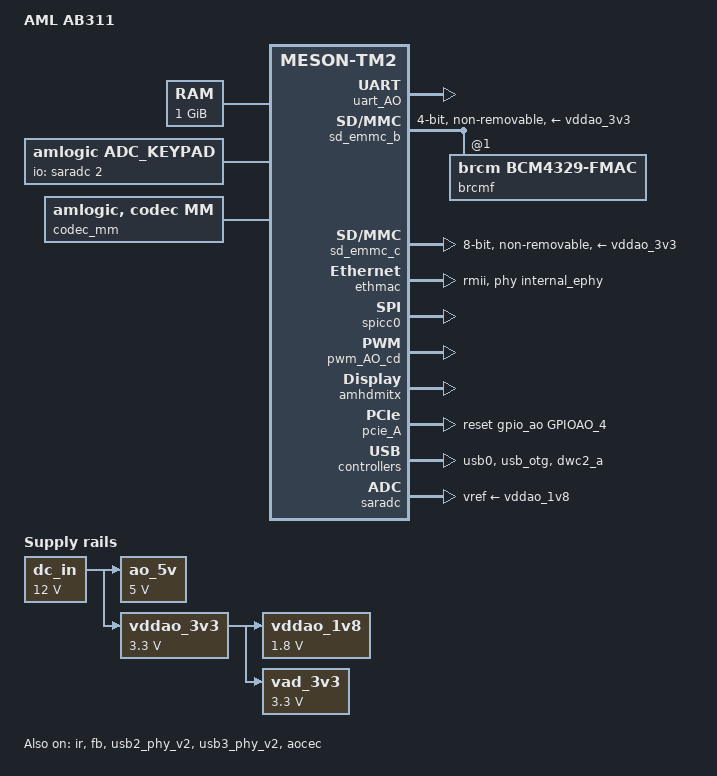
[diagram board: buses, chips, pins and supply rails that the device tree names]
// SPDX-License-Identifier: (GPL-2.0+ OR MIT)
/*
 * Copyright (c) 2019 Amlogic, Inc. All rights reserved.
 */

/dts-v1/;

#include "meson-tm2.dtsi"
#include "partition_mbox.dtsi"

/ {
	compatible = "amlogic,tm2";
	model = "AML AB311";

	aliases {
		serial0 = &uart_AO;
		serial1 = &uart_A;
		serial2 = &uart_B;
		serial3 = &uart_C;
		serial4 = &uart_AO_B;
		ethernet0 = &ethmac;
		i2c0 = &i2c0;
		i2c1 = &i2c1;
		i2c2 = &i2c2;
		i2c3 = &i2c3;
		i2c4 = &i2c_AO;
		spi1 = &spicc0;
		spi2 = &spicc1;
		tsensor0 = &p_tsensor;
		tsensor1 = &d_tsensor;
	};

	chosen {
		stdout-path = "serial0:115200n8";
	};

	memory@0 {
		device_type = "memory";
		reg = <0x0 0x0 0x0 0x40000000>;
	};

	adc_keypad {
		compatible = "amlogic, adc_keypad";
		status = "okay";
		key_name = "vol-", "vol+", "enter";
		key_num = <3>;
		io-channels = <&saradc 2>;
		io-channel-names = "key-chan-2";
		key_chan = <2 2 2>;
		key_code = <114 115 28>;
		key_val = <143 266 389>; //val=voltage/1800mV*1023
		key_tolerance = <40 40 40>;
	};

	ao_5v: regulator-ao_5v {
		compatible = "regulator-fixed";
		regulator-name = "AO_5V";
		regulator-min-microvolt = <5000000>;
		regulator-max-microvolt = <5000000>;
		vin-supply = <&dc_in>;
		regulator-always-on;
	};

	dc_in: regulator-dc_in {
		compatible = "regulator-fixed";
		regulator-name = "DC_IN";
		regulator-min-microvolt = <12000000>;
		regulator-max-microvolt = <12000000>;
		regulator-always-on;
	};

	reserved-memory {
		secmon_reserved:linux,secmon {
			compatible = "shared-dma-pool";
			reusable;
			size = <0x0 0x400000>;
			alignment = <0x0 0x400000>;
			alloc-ranges = <0x0 0x05000000 0x0 0x400000>;
		};

		ion_cma_reserved:linux,ion-dev {
			compatible = "shared-dma-pool";
			reusable;
			size = <0x8000000>;
			alignment = <0x400000>;
			alloc-ranges = <0x0 0x30000000 0x0 0x50000000>;
		};

		dsp_fw_reserved:linux,dsp_fw {
			compatible = "shared-dma-pool";
			reusable;
			size = <0x0 0x1000000>;
			alignment = <0x0 0x400000>;
			alloc-ranges = <0x0 0x30000000 0x0 0x1000000>;
		};

		/*  POST PROCESS MANAGER */
		ppmgr_reserved:linux,ppmgr {
			compatible = "shared-dma-pool";
			size = <0x0>;
		};

		logo_reserved:linux,meson-fb {
			compatible = "shared-dma-pool";
			reusable;
			size = <0x0 0x800000>;
			alignment = <0x0 0x400000>;
			alloc-ranges = <0x0 0x3f800000 0x0 0x800000>;
		};

		ion_cma_reserved:linux,ion-dev {
			compatible = "shared-dma-pool";
			reusable;
			size = <0x0 0x8000000>;
			alignment = <0x0 0x400000>;
		};

		codec_mm_cma:linux,codec_mm_cma {
			compatible = "shared-dma-pool";
			reusable;
			/* ion_codec_mm max can alloc size 80M*/
			size = <0x0 0x13400000>;
			alignment = <0x0 0x400000>;
			linux,contiguous-region;
		};

		/* codec shared reserved */
		codec_mm_reserved:linux,codec_mm_reserved {
			compatible = "amlogic, codec-mm-reserved";
			size = <0x0 0x0>;
			alignment = <0x0 0x100000>;
		};

		/*di CMA pool */
		di_cma_reserved:linux,di_cma {
			compatible = "shared-dma-pool";
			reusable;
			size = <0x0 0x02800000>;
			alignment = <0x0 0x400000>;
		};

		/*  vdin0 CMA pool */
		//vdin0_cma_reserved:linux,vdin0_cma {
		//	compatible = "shared-dma-pool";
		//	reusable;
			/* 3840x2160x4x4 ~=128 M */
		//	size = <0x0 0xc400000>;
		//	alignment = <0x0 0x400000>;
		//};

		/*  vdin1 CMA pool */
		vdin1_cma_reserved:linux,vdin1_cma {
			compatible = "shared-dma-pool";
			reusable;
			/* 1920x1080x2x5  =20 M */
			size = <0x0 0x1400000>;
			alignment = <0x0 0x400000>;
		};
	};

	codec_mm {
		compatible = "amlogic, codec, mm";
		memory-region = <&codec_mm_cma &codec_mm_reserved>;
		dev_name = "codec_mm";
		status = "okay";
	};

	ppmgr {
		compatible = "amlogic, ppmgr";
		memory-region = <&ppmgr_reserved>;
		dev_name = "ppmgr";
		status = "okay";
	};

	amlvecm {
		compatible = "amlogic, vecm-tm2-verb";
		dev_name = "aml_vecm";
		status = "okay";
		gamma_en = <0>;/*1:enabel ;0:disable*/
		wb_en = <0>;/*1:enabel ;0:disable*/
		cm_en = <0>;/*1:enabel ;0:disable*/
		wb_sel = <0>;/*1:mtx ;0:gainoff*/
		vlock_en = <0>;/*1:enable;0:disable*/
		vlock_mode = <0x8>;
		/* vlock work mode:
		 *bit0:auto ENC
		 *bit1:auto PLL
		 *bit2:manual PLL
		 *bit3:manual ENC
		 *bit4:manual soft ENC
		 *bit5:manual MIX PLL ENC
		 */
		 vlock_pll_m_limit = <1>;
		 vlock_line_limit = <2>;
	};

	amdolby_vision {
		compatible = "amlogic, dolby_vision_tm2";
		dev_name = "aml_amdolby_vision_driver";
		status = "okay";
		tv_mode = <0>;/*1:enabel ;0:disable*/
	};

	vdin@0 {
		compatible = "amlogic, vdin-tm2verb";
		/*memory-region = <&vdin0_cma_reserved>;*/
		status = "okay";
		/*bit0:(1:share with codec_mm;0:cma alone)
		 *bit8:(1:alloc in discontinus way;0:alone in continuous way)
		 */
		flag_cma = <0x101>;
		/*MByte, if 10bit disable: 64M(YUV422),
		 *if 10bit enable: 64*1.5 = 96M(YUV422)
		 *if support 4K2K-YUV444-10bit-WR:3840*2160*4*6 ~= 200M
		 *if support 4K2K-YUV422-10bit-wr:3840*2160*3*6 ~= 160M
		 *if support 4K2K-YUV422-8BIT-WR:3840*2160*2*4 ~= 64M
		 *if support 1080p-YUV422-8BIT-WR:1920*1080*2*4 ~= 16M
		 *worst case:(4096*2160*3 + 2M(afbce issue)) *10buf = 273.5M
		 *for double write 4k, need extra 25M for 960x540(1/4 down)
		 */
		cma_size = <300>;
		/* max buffer number */
		frame_buff_num = <10>;
		interrupts = <0 83 1 /* vdin0 vsync */
			      0 72 1>;/* vpu crash */
		rdma-irq = <2>;
		clocks = <&clkc CLKID_FCLK_DIV5>,
			<&clkc CLKID_VDIN_MEAS>;
		clock-names = "fclk_div5", "cts_vdin_meas_clk";
		vdin_id = <0>;
		/*vdin write mem color depth support:
		 * bit0:support 8bit
		 * bit1:support 9bit
		 * bit2:support 10bit
		 * bit3:support 12bit
		 * bit4:support yuv422 10bit full pack mode (from txl new add)
		 * bit8:use 8bit  at 4k_50/60hz_10bit
		 * bit9:use 10bit at 4k_50/60hz_10bit
		 * bit10: support 10bit when double write
		 */
		tv_bit_mode = <0x215>;
		/* afbce_bit_mode: (amlogic frame buff compression encoder)
		 * bit0 -- enable afbce
		 * bit1 -- enable afbce compression-lossy
		 * bit4 -- afbce for 4k
		 * bit5 -- afbce for 1080p
		 * bit6 -- afbce for 720p
		 * bit7 -- afbce for smaller resolution
		 */
		afbce_bit_mode = <0x11>;
		/* urgent_en; */
		double_write_en;
	};

	vdin@1 {
		compatible = "amlogic, vdin-tm2verb";
		memory-region = <&vdin1_cma_reserved>;
		status = "okay";
		/*bit0:(1:share with codec_mm;0:cma alone)
		 *bit8:(1:alloc in discontinus way;0:alone in continuous way)
		 */
		flag_cma = <0>;
		interrupts = <0 85 1>;
		rdma-irq = <4>;
		clocks = <&clkc CLKID_FCLK_DIV5>,
			<&clkc CLKID_VDIN_MEAS>;
		clock-names = "fclk_div5", "cts_vdin_meas_clk";
		vdin_id = <1>;
		/*vdin write mem color depth support:
		 *bit0:support 8bit
		 *bit1:support 9bit
		 *bit2:support 10bit
		 *bit3:support 12bit
		 */
		tv_bit_mode = <0x15>;
		/*urgent_en*/
	};

	vddao_1v8: regulator-vddao_1v8 {
		compatible = "regulator-fixed";
		regulator-name = "VDDAO_1V8";
		regulator-min-microvolt = <1800000>;
		regulator-max-microvolt = <1800000>;
		vin-supply = <&vddao_3v3>;
		regulator-always-on;
	};

	vddao_3v3: regulator-vddao_3v3 {
		compatible = "regulator-fixed";
		regulator-name = "VDDAO_3V3";
		regulator-min-microvolt = <3300000>;
		regulator-max-microvolt = <3300000>;
		vin-supply = <&dc_in>;
		regulator-always-on;
	};

	vad_3v3: regulator-vad_3v3 {
		compatible = "regulator-fixed";
		regulator-name = "VAD_3V3";
		regulator-min-microvolt = <3300000>;
		regulator-max-microvolt = <3300000>;
		vin-supply = <&vddao_3v3>;
		regulator-always-on;
	};

	deinterlace {
		compatible = "amlogic, deinterlace";
		status = "okay";
		/* 0:use reserved; 1:use cma; 2:use cma as reserved */
		flag_cma = <1>;
		//memory-region = <&di_reserved>;
		memory-region = <&di_cma_reserved>;
		interrupts = <0 46 1
				0 40 1>;
		interrupt-names = "pre_irq", "post_irq";
		clocks = <&clkc CLKID_VPU_CLKB_TMP
			&clkc CLKID_VPU_CLKB
			&clkc CLKID_VPU>;
		clock-names = "vpu_clkb_tmp",
			"vpu_clkb",
			"vpu_mux";
		clock-range = <334 667>;
		/* buffer-size = <3621952>;(yuv422 8bit) */
		buffer-size = <4074560>;/*yuv422 fullpack*/
		/* reserve-iomap = "true"; */
		/* if enable nr10bit, set nr10bit-support to 1 */
		post-wr-support = <1>;
		nr10bit-support = <1>;
		nrds-enable = <1>;
		pps-enable = <1>;
	};

       aocec: aocec {
		compatible = "amlogic, aocec-tm2";
		/*device_name = "aocec";*/
		status = "okay";
		vendor_name = "Amlogic"; /* Max Chars: 8         */
		/* Refer to the following URL at:
		 * http://standards.ieee.org/develop/regauth/oui/oui.txt
		 */
		vendor_id = <0xffffff>;
		product_desc = "TM2"; /* Max Chars: 16    */
		cec_osd_string = "AML_TV"; /* Max Chars: 14    */
		port_num = <4>;
		ee_cec;
		/*cec_sel = <2>;*/
		output = <1>;   /*output port number*/
		arc_port_mask = <0x2>;
		interrupts = <0 203 1
			0 199 1>;
		interrupt-names = "hdmi_aocecb","hdmi_aocec";
		pinctrl-names = "default","hdmitx_aocecb","cec_pin_sleep";
		pinctrl-0=<&aoceca_mux>;
		pinctrl-1=<&aocecb_mux>;
		pinctrl-2=<&aoceca_mux>;
		reg = <0x0 0xFF80023c 0x0 0x4
			0x0 0xFF800000 0x0 0x400>;
		reg-names = "ao_exit","ao";
	};

	cpu_opp_table0: cpu_opp_table0 {
		compatible = "operating-points-v2";
		opp-shared;

		opp00 {
			opp-hz = /bits/ 64 <100000000>;
			opp-microvolt = <780000>;
		};
		opp01 {
			opp-hz = /bits/ 64 <250000000>;
			opp-microvolt = <780000>;
		};
		opp02 {
			opp-hz = /bits/ 64 <500000000>;
			opp-microvolt = <780000>;
		};
		opp03 {
			opp-hz = /bits/ 64 <667000000>;
			opp-microvolt = <780000>;
		};
		opp04 {
			opp-hz = /bits/ 64 <1000000000>;
			opp-microvolt = <780000>;
		};
		opp05 {
			opp-hz = /bits/ 64 <1200000000>;
			opp-microvolt = <800000>;
		};
		opp06 {
			opp-hz = /bits/ 64 <1404000000>;
			opp-microvolt = <810000>;
		};
		opp07 {
			opp-hz = /bits/ 64 <1500000000>;
			opp-microvolt = <820000>;
		};
		opp08 {
			opp-hz = /bits/ 64 <1608000000>;
			opp-microvolt = <870000>;
		};
		opp09 {
			opp-hz = /bits/ 64 <1704000000>;
			opp-microvolt = <920000>;
		};
		opp10 {
			opp-hz = /bits/ 64 <1800000000>;
			opp-microvolt = <970000>;
		};
		opp11 {
			opp-hz = /bits/ 64 <1908000000>;
			opp-microvolt = <1020000>;
		};
	};

	cpufreq-meson {
		compatible = "amlogic, cpufreq-meson";
		pinctrl-names = "default";
		//pinctrl-0 = <&pwm_ao_d_pins3>;
		status = "okay";
	};

	picdec {
		compatible = "amlogic, picdec";
		status = "okay";
	};

	cvbsout {
		compatible = "amlogic, cvbsout-tm2";
		status = "okay";
		clocks = <&clkc CLKID_VCLK2_ENCI
			&clkc CLKID_VCLK2_VENCI0
			&clkc CLKID_VCLK2_VENCI1
			&clkc CLKID_DAC_CLK>;
		clock-names = "venci_top_gate",
			"venci_0_gate",
			"venci_1_gate",
			"vdac_clk_gate";
		/* clk path */
		/* 0:vid_pll vid2_clk */
		/* 1:gp0_pll vid2_clk */
		/* 2:vid_pll vid1_clk */
		/* 3:gp0_pll vid1_clk */
		clk_path = <0>;

		/* performance: reg_address, reg_value */
		/* tm2 */
		performance = <0x1bf0  0x9
			0x1b56  0x333
			0x1b12  0x8080
			0x1b05  0xfd
			0x1c59  0xf850
			0xffff  0x0>; /* ending flag */
		performance_sarft = <0x1bf0  0x9
			0x1b56  0x333
			0x1b12  0x0
			0x1b05  0x9
			0x1c59  0xfc48
			0xffff  0x0>; /* ending flag */
		performance_revB_telecom = <0x1bf0  0x9
			0x1b56  0x546
			0x1b12  0x8080
			0x1b05  0x9
			0x1c59  0xf850
			0xffff  0x0>; /* ending flag */
	};
};

/* Exposed via the on-board USB to Serial FT232RL IC */
&uart_AO {
	status = "okay";
};

&sd_emmc_b {
	status = "okay";
	pinctrl-0 = <&sdcard_pins>;
	pinctrl-1 = <&sdcard_clk_gate_pins>;
	pinctrl-names = "default", "clk-gate";
	#address-cells = <1>;
	#size-cells = <0>;

	bus-width = <4>;
	cap-sd-highspeed;
	sd-uhs-sdr50;
	sd_uhs-sdr104;
	max-frequency = <200000000>;

	non-removable;
	disable-wp;
	cap-sdio-irq;
	keep-power-in-suspend;
	card_type = <3>;

	power-domains = <&pwrc PWRC_TM2_EMMCB_ID>;
//	mmc-pwrseq = <&sdio_pwrseq>;

	vmmc-supply = <&vddao_3v3>;
	vqmmc-supply = <&vddao_1v8>;

	brcmf: wifi@1 {
		reg = <1>;
		compatible = "brcm,bcm4329-fmac";
	};
};

&sd_emmc_c {
	status = "okay";
	pinctrl-0 = <&emmc_pins>, <&emmc_ds_pins>;
	pinctrl-1 = <&emmc_clk_gate_pins>;
	pinctrl-names = "default", "clk-gate";

	bus-width = <8>;
	cap-mmc-highspeed;
	//mmc-ddr-1_8v;
	mmc-hs200-1_8v;
	mmc-hs400-1_8v;
	max-frequency = <200000000>;
	non-removable;
	disable-wp;

	power-domains = <&pwrc PWRC_TM2_EMMCC_ID>;
//	mmc-pwrseq = <&emmc_pwrseq>;
	vmmc-supply = <&vddao_3v3>;
	vqmmc-supply = <&vddao_1v8>;
};

&ethmac {
	status = "okay";
	phy-handle = <&internal_ephy>;
	phy-mode = "rmii";
};

&ir {
	status = "okay";
	pinctrl-names = "default";
	pinctrl-0 = <&remote_input_ao_pins>;
};

&spicc0 {
	status = "okay";
	pinctrl-names = "default";
	pinctrl-0 = <&spicc0_pins_h>;
	cs-gpios = <&gpio GPIOH_20 0>;
};

&spicc1 {
	status = "disabled";
	pinctrl-names = "default";
	pinctrl-0 = <&spicc1_pins_c>;
	cs-gpios = <&gpio GPIOC_3 0>;
};

&pwm_AO_cd {
	status = "okay";
};

&fb {
	status = "okay";
	display_size_default = <1920 1080 1920 2160 32>;
	mem_size = <0x00800000 0x1980000 0x100000 0x100000 0x800000>;
	logo_addr = "0x3f800000";
	mem_alloc = <0>;
	pxp_mode = <0>; /** 0:normal mode 1:pxp mode */
};

&amhdmitx {
	status = "okay";
	repeater_tx = <0x0>;
};

&pcie_A {
	reset-gpio = <&gpio_ao GPIOAO_4 GPIO_ACTIVE_HIGH>;
	status = "okay";
};

&pcie_B {
	/* ab311 only pcie a, no pcie b */
	status = "disable";
};

&usb0 {
	status = "okay";
};

&usb2_phy_v2 {
	status = "okay";
	portnum = <3>;
};

&usb3_phy_v2 {
	status = "okay";
	portnum = <1>;
	portconfig-30 = <0>;
	portconfig-31 = <1>;
};

&usb_otg {
	status = "okay";
	otg = <0>;
};

&dwc2_a {
	status = "okay";
	/** 0: normal, 1: otg+dwc3 host only, 2: otg+dwc3 device only*/
	controller-type = <1>;
};

&saradc {
	status = "okay";
	vref-supply = <&vddao_1v8>;
};

&lut_dma {
	status = "okay";
};
